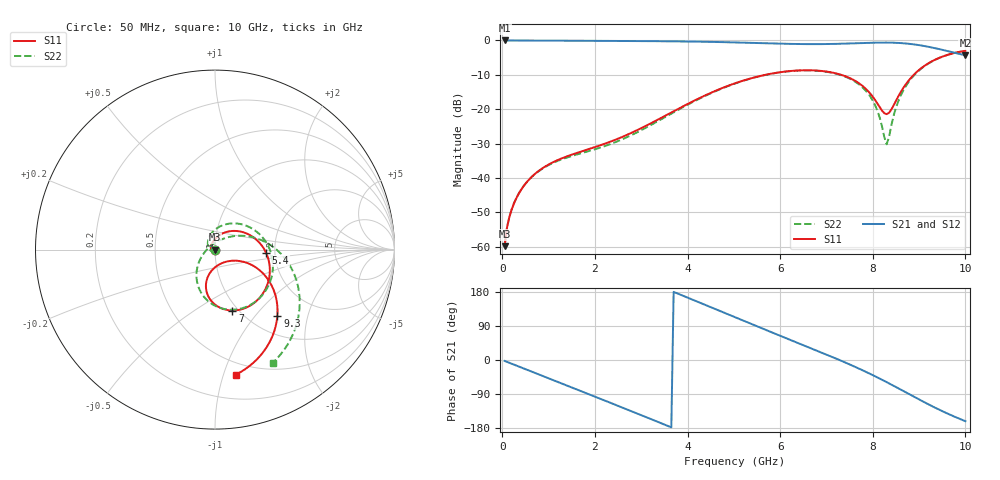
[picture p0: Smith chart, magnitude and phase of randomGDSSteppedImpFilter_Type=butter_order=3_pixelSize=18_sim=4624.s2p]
! freq	dB(S11)	phase(S11)	dB(S12)	phase(S12)
!  dB(S21)	phase(S21)	dB(S22)	phase(S22)
!S-par simulation data
#  GHz  S  DB  R 50
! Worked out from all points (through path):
!   200 points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, 50 MHz to 10 GHz, reference 50 ohm
!   highest |S21| = 0.00 dB at 50 MHz (marker M1); lowest = -4.3 dB at 10 GHz (marker M2)
!   group delay of S21, straight-line fit = 143 ps
!   lowest |S11| = -59.9 dB at 50 MHz (marker M3), VSWR 1.00, Z = 50 - j0.101 ohm
!   |S11| at or under -10 dB: start of sweep to 5.681 GHz; 7.319 GHz to 8.885 GHz (1.566 GHz wide, 19.3 % of centre)
!   |S22| runs from -59.7 to -3.0 dB; largest |S21 - S12| = 0
!   S11 on the Smith chart (normalised r, x): 50 MHz: 1.00, -0.00; 5.4 GHz: 1.79, -0.07; 7 GHz: 0.94, -0.73; 9.3 GHz: 1.32, -1.31; 10 GHz: 0.39, -1.10
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0.05  -59.85 -83.4  -0.00 -2.4  -0.00 -2.4  -59.74 -81.9
0.1  -54.56 -86.9  -0.01 -4.9  -0.01 -4.9  -54.51 -84.7
0.2  -49.28 -96.1  -0.01 -9.7  -0.01 -9.7  -49.22 -92.3
0.5  -41.69 -119.5  -0.03 -24.2  -0.03 -24.2  -41.67 -109.8
1.15  -35.08 -161.7  -0.06 -55.5  -0.06 -55.5  -35.30 -137.8
1.75  -32.12 160.3  -0.10 -84.5  -0.10 -84.5  -32.64 -160.5
2.5  -28.57 117.9  -0.14 -121.0  -0.14 -121.0  -29.28 169.0
3.4  -22.75 79.5  -0.22 -165.3  -0.22 -165.3  -23.18 121.3
4.15  -17.48 50.3  -0.33 157.2  -0.33 157.2  -17.66 78.5
5.05  -12.35 12.0  -0.58 111.6  -0.58 111.6  -12.41 28.8
5.4  -10.91 -3.5  -0.71 94.0  -0.71 94.0  -10.95 10.1
6  -9.24 -30.3  -0.94 64.0  -0.94 64.0  -9.27 -21.3
6.7  -8.70 -61.1  -1.07 29.4  -1.07 29.4  -8.74 -57.2
7  -9.05 -74.1  -1.05 14.4  -1.05 14.4  -9.11 -72.9
7.8  -13.47 -103.8  -0.74 -28.3  -0.74 -28.3  -13.93 -120.1
8.1  -18.34 -99.7  -0.63 -46.0  -0.63 -46.0  -20.45 -148.2
8.3  -21.45 -64.4  -0.62 -58.4  -0.62 -58.4  -30.21 128.7
8.35  -21.07 -51.7  -0.62 -61.6  -0.62 -61.6  -28.19 87.0
8.5  -17.58 -27.8  -0.69 -71.3  -0.69 -71.3  -19.60 42.1
8.7  -13.00 -22.7  -0.86 -84.5  -0.86 -84.5  -13.59 20.2
9.3  -5.90 -46.8  -2.12 -123.1  -2.12 -123.1  -5.95 -23.6
10  -3.01 -80.6  -4.34 -161.5  -4.34 -161.5  -3.00 -63.0
